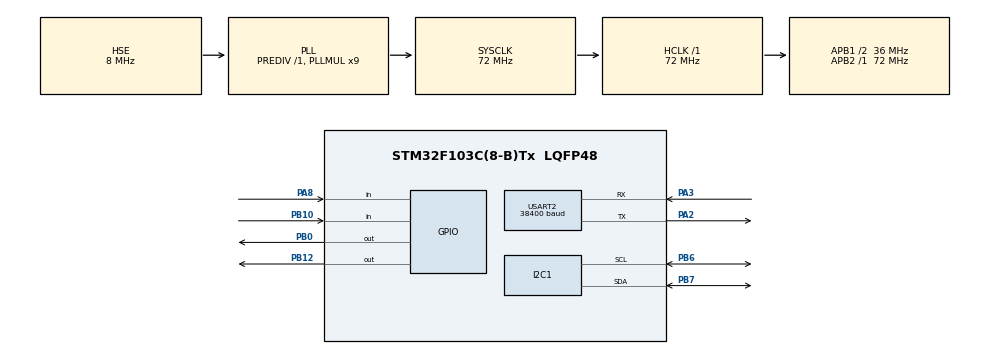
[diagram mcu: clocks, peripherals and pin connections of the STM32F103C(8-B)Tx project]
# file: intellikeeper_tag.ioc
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Mcu.Family=STM32F1
RCC.PLLSourceVirtual=RCC_PLLSOURCE_HSE
PD1-OSC_OUT.Mode=HSE-External-Oscillator
PB10.GPIO_PuPd=GPIO_PULLUP
PD0-OSC_IN.Signal=RCC_OSC_IN
RCC.APB1CLKDivider=RCC_HCLK_DIV2
NVIC.USART2_IRQn=true\:1\:0\:true\:false\:true\:true\:true
USART2.BaudRate=38400
RCC.SYSCLKSource=RCC_SYSCLKSOURCE_PLLCLK
ProjectManager.StackSize=0x400
PD1-OSC_OUT.Signal=RCC_OSC_OUT
PA13.Signal=SYS_JTMS-SWDIO
PA3.Mode=Asynchronous
ProjectManager.TargetToolchain=SW4STM32
RCC.HCLKFreq_Value=72000000
RCC.APB2TimFreq_Value=72000000
TIM3.Period=99
PB6.Signal=I2C1_SCL
PB6.Mode=I2C
RCC.USBFreq_Value=72000000
RCC.AHBFreq_Value=72000000
PD0-OSC_IN.Mode=HSE-External-Oscillator
PB10.Signal=GPIO_Input
board=custom
RCC.PLLMUL=RCC_PLL_MUL9
NVIC.TIM3_IRQn=true\:2\:0\:true\:false\:true\:true\:true
RCC.APB2Freq_Value=72000000
PA14.Mode=Serial_Wire
TIM3.Prescaler=719
PB7.Signal=I2C1_SDA
PA8.Signal=GPIO_Input
PA13.Mode=Serial_Wire
Mcu.Name=STM32F103C(8-B)Tx
PA2.Signal=USART2_TX
RCC.SYSCLKFreq_VALUE=72000000
Mcu.Package=LQFP48
USART2.VirtualMode=VM_ASYNC
PB7.Mode=I2C
PA14.Signal=SYS_JTCK-SWCLK
ProjectManager.HeapSize=0x200
PA8.GPIO_PuPd=GPIO_PULLUP
NVIC.PriorityGroup=NVIC_PRIORITYGROUP_4
RCC.APB1TimFreq_Value=72000000
PA2.Mode=Asynchronous
RCC.APB1Freq_Value=36000000
PB0.Signal=GPIO_Output
VP_TIM3_VS_ClockSourceINT.Mode=Internal
PB12.Signal=GPIO_Output
PA3.Signal=USART2_RX

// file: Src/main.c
/* USER CODE BEGIN Header */
/**
  ******************************************************************************
  * @file           : main.c
  * @brief          : Main program body
  ******************************************************************************
  * @attention
  *
  * <h2><center>&copy; Copyright (c) 2020 STMicroelectronics.
  * All rights reserved.</center></h2>
  *
  * This software component is licensed by ST under BSD 3-Clause license,
  * the "License"; You may not use this file except in compliance with the
  * License. You may obtain a copy of the License at:
  *                        opensource.org/licenses/BSD-3-Clause
  *
  ******************************************************************************
  */
/* USER CODE END Header */

#include <intellikeeper.h>
#include "main.h"
#include "i2c.h"
#include "tim.h"
#include "usart.h"
#include "gpio.h"

/* USER CODE BEGIN Includes */
#include "../Drivers/Zigbee/zigbee.h"
#include "../Drivers/MPU6050/move_detect.h"
/* USER CODE END Includes */

void SystemClock_Config(void);

int main(void)
{

  /* MCU Configuration--------------------------------------------------------*/

  /* Reset of all peripherals, Initializes the Flash interface and the Systick. */
  HAL_Init();

  /* Configure the system clock */
  SystemClock_Config();

  /* Initialize all configured peripherals */
  MX_GPIO_Init();
  MX_USART2_UART_Init();
  MX_I2C1_Init();
  MX_TIM3_Init();
  /* USER CODE BEGIN 2 */
  HAL_GPIO_WritePin(GPIOB, GPIO_PIN_12, GPIO_PIN_SET);
  HAL_GPIO_WritePin(GPIOB, GPIO_PIN_0, GPIO_PIN_SET);
  /* USER CODE END 2 */

  /* Infinite loop */
  /* USER CODE BEGIN WHILE */
  //Zigbee_Read_Config();
  //Zigbee_ConfigureAs(END_DEVICE);
  Zigbee_Involve();
  Zigbee_SayHello();
  Zigbee_Query_Location();

  uint32_t Last_Report_Time = 0;

  uint8_t Detected_Move = 0;
  uint32_t Move_Start_Time = HAL_GetTick();

  uint8_t Detected_Light = 0;
  uint32_t Light_Start_Time = HAL_GetTick();

  uint32_t Last_Update_Position_Time = HAL_GetTick();

  while (1)
  {
    /* USER CODE END WHILE */

    /* USER CODE BEGIN 3 */

    uint32_t time = HAL_GetTick();

    if (!Configured) {
        goto update;
    }

    // Acc check
    if (Sensor_Move_On) {
        Move_Update_Stability();

        if (!Move_Is_Stable) {
            Detected_Move = 1;
            Beep(50, 2, 50);
            if (time - Last_Report_Time > 1000 * 10 && time - Move_Start_Time > 1000) {
                Last_Report_Time = time;
                Move_Start_Time = time;
                Zigbee_Report_Invalid(1);
                Beep(300, 2, 20);
            }
        } else {
            if (time - Move_Start_Time > 10000) {
                Detected_Move = 0;
            }
            if (!Detected_Move) {
                Move_Start_Time = time;
            }
        }
    }

    // Light-Cover Check
    if (Sensor_Light_On) {
        if (!HAL_GPIO_ReadPin(GPIOB, GPIO_PIN_10)) {
            Detected_Light = 1;
            Beep(50, 2, 50);
            if (time - Last_Report_Time > 1000 * 10 && time - Light_Start_Time > 1000) {
                Last_Report_Time = time;
                Light_Start_Time = time;
                Zigbee_Report_Invalid(0);
                Beep(300, 2, 50);
            }
        } else {
            if (time - Light_Start_Time > 10000) {
                Detected_Light = 0;
            }
            if (!Detected_Light) {
                Light_Start_Time = time;
            }
        }
    }

    // Update position when necessary
      update:
    time = HAL_GetTick();
    if (time - Last_Update_Position_Time > 5000) {
        Zigbee_Query_Location();
        Last_Update_Position_Time = time;
        //Beep(20, 3, 20);
    }

    HAL_Delay(10);
  }
  /* USER CODE END 3 */
}

void SystemClock_Config(void)
{
  RCC_OscInitTypeDef RCC_OscInitStruct = {0};
  RCC_ClkInitTypeDef RCC_ClkInitStruct = {0};

  /** Initializes the CPU, AHB and APB busses clocks
  */
  RCC_OscInitStruct.OscillatorType = RCC_OSCILLATORTYPE_HSE;
  RCC_OscInitStruct.HSEState = RCC_HSE_ON;
  RCC_OscInitStruct.HSEPredivValue = RCC_HSE_PREDIV_DIV1;
  RCC_OscInitStruct.HSIState = RCC_HSI_ON;
  RCC_OscInitStruct.PLL.PLLState = RCC_PLL_ON;
  RCC_OscInitStruct.PLL.PLLSource = RCC_PLLSOURCE_HSE;
  RCC_OscInitStruct.PLL.PLLMUL = RCC_PLL_MUL9;
  if (HAL_RCC_OscConfig(&RCC_OscInitStruct) != HAL_OK)
  {
    Error_Handler();
  }
  /** Initializes the CPU, AHB and APB busses clocks
  */
  RCC_ClkInitStruct.ClockType = RCC_CLOCKTYPE_HCLK|RCC_CLOCKTYPE_SYSCLK
                              |RCC_CLOCKTYPE_PCLK1|RCC_CLOCKTYPE_PCLK2;
  RCC_ClkInitStruct.SYSCLKSource = RCC_SYSCLKSOURCE_PLLCLK;
  RCC_ClkInitStruct.AHBCLKDivider = RCC_SYSCLK_DIV1;
  RCC_ClkInitStruct.APB1CLKDivider = RCC_HCLK_DIV2;
  RCC_ClkInitStruct.APB2CLKDivider = RCC_HCLK_DIV1;

  if (HAL_RCC_ClockConfig(&RCC_ClkInitStruct, FLASH_LATENCY_2) != HAL_OK)
  {
    Error_Handler();
  }
}

void Error_Handler(void)
{
}

/************************ (C) COPYRIGHT STMicroelectronics *****END OF FILE****/
